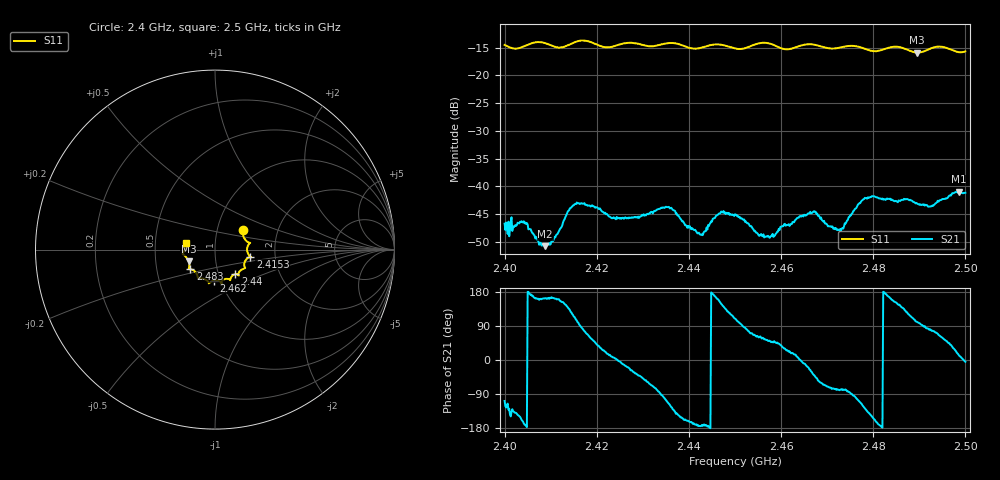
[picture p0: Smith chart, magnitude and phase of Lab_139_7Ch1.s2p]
# Hz S RI R 50
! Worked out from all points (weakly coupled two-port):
!   601 points, 2.4 GHz to 2.5 GHz, reference 50 ohm
!   highest |S21| = -40.99 dB at 2.4987 GHz (marker M1); lowest = -50.8 dB at 2.4088 GHz (marker M2)
!   lowest |S11| = -15.9 dB at 2.4895 GHz (marker M3), VSWR 1.38, Z = 37 - j5 ohm
!   |S11| at or under -10 dB: start of sweep to end of sweep
!   S12 and S22 are empty: the file has one direction only
!   S11 on the Smith chart (normalised r, x): 2.4 GHz: 1.33, +0.29; 2.4153 GHz: 1.48, -0.12; 2.44 GHz: 1.20, -0.34; 2.462 GHz: 0.93, -0.33; 2.483 GHz: 0.74, -0.17; 2.5 GHz: 0.72, +0.06
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2.4e9  0.1552 0.1065  -0.00143 -0.00438  0 0  0 0
2.4045e9  0.1799 0.0433  -0.00466 -0.000737  0 0  0 0
2.408833e9  0.1923 0.0348  -0.00276 0.000832  0 0  0 0
2.415333e9  0.1963 -0.0387  -0.00234 0.00652  0 0  0 0
2.416667e9  0.202 -0.0428  0.000448 0.00703  0 0  0 0
2.423667e9  0.1628 -0.0836  0.00521 0.000596  0 0  0 0
2.433333e9  0.1313 -0.1337  0.000755 -0.00617  0 0  0 0
2.436e9  0.1324 -0.1447  -0.00331 -0.0054  0 0  0 0
2.44e9  0.1139 -0.1365  -0.00403 -0.00129  0 0  0 0
2.442833e9  0.0902 -0.1536  -0.00364 -0.000555  0 0  0 0
2.446667e9  0.0848 -0.1699  -0.00511 0.00249  0 0  0 0
2.45e9  0.0648 -0.1628  -0.00183 0.00529  0 0  0 0
2.456833e9  0.039 -0.1924  0.00213 0.00282  0 0  0 0
2.462e9  -0.00524 -0.1733  0.00421 0.00158  0 0  0 0
2.466667e9  -0.0345 -0.1876  0.00488 -0.00302  0 0  0 0
2.4725e9  -0.0752 -0.1605  0.000796 -0.00399  0 0  0 0
2.478e9  -0.0986 -0.1446  -0.0044 -0.00628  0 0  0 0
2.483e9  -0.1375 -0.1094  -0.00766 0.00126  0 0  0 0
2.483333e9  -0.14 -0.1093  -0.0075 0.00172  0 0  0 0
2.4895e9  -0.1462 -0.0658  -0.00124 0.0069  0 0  0 0
2.498667e9  -0.161 0.0158  0.00876 0.00172  0 0  0 0
2.5e9  -0.16 0.0392  0.00873 -0.000718  0 0  0 0
